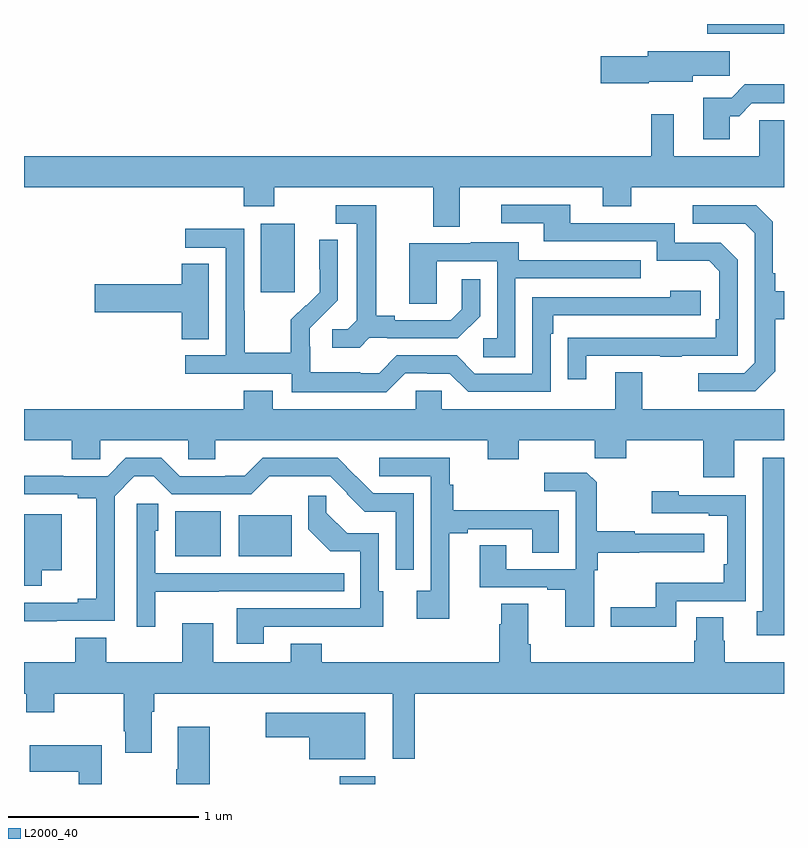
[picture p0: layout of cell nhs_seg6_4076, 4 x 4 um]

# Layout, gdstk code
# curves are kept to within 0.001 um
import gdstk
lib = gdstk.Library(unit=1e-6, precision=1e-09)
def R(c, l, rs):  # rectangles x0, y0, x1, y1
    for r in rs: c.add(gdstk.rectangle(r[:2], r[2:], *l))
def P(c, l, *ps):  # polygons
    for p in ps: c.add(gdstk.Polygon(p, *l))
L2000_40 = (2000, 40)

nhs_seg6_4076 = lib.new_cell('nhs_seg6_4076')
R(nhs_seg6_4076, L2000_40, [(352.663,973.5,352.849,973.54), (351.797,974.699,352.036,974.935), (352.13,974.699,352.408,974.914), (352.247,976.089,352.426,976.45), (354.596,977.45,355,977.5)])
P(nhs_seg6_4076, L2000_40, [(354.288,977.195),(354.52,977.195),(354.52,977.227),(354.715,977.227),(354.715,977.356),(354.284,977.356),(354.284,977.33),(354.036,977.33),(354.036,977.188),(354.288,977.188)],
  [(354.715,977.015),(354.764,977.015),(354.831,977.082),(355,977.082),(355,977.183),(354.794,977.183),(354.724,977.113),(354.575,977.113),(354.575,976.893),(354.715,976.893)],
  [(353.293,976.64),(354.047,976.64),(354.047,976.541),(354.195,976.541),(354.195,976.64),(355,976.64),(355,976.994),(354.87,976.994),(354.87,976.804),(354.421,976.804),(354.421,977.026),(354.3,977.026),(354.3,976.804),(351,976.804),(351,976.64),(352.157,976.64),(352.157,976.541),(352.317,976.541),(352.317,976.64),(353.153,976.64),(353.153,976.432),(353.293,976.432)],
  [(353.959,975.753),(354.349,975.753),(354.349,975.748),(354.461,975.748),(354.461,975.753),(354.756,975.753),(354.756,976.26),(354.666,976.35),(354.426,976.35),(354.426,976.452),(353.875,976.452),(353.875,976.548),(353.511,976.548),(353.511,976.452),(353.735,976.452),(353.735,976.356),(354.33,976.356),(354.33,976.253),(354.607,976.253),(354.66,976.2),(354.66,975.946),(354.64,975.946),(354.64,975.849),(353.863,975.848),(353.863,975.63),(353.959,975.63)],
  [(352.818,975.849),(352.912,975.849),(352.912,975.846),(353.284,975.846),(353.4,975.962),(353.4,976.156),(353.303,976.156),(353.303,975.999),(353.246,975.942),(352.951,975.942),(352.951,975.965),(352.855,975.965),(352.855,976.545),(352.641,976.545),(352.641,976.449),(352.751,976.449),(352.751,975.941),(352.704,975.894),(352.623,975.894),(352.623,975.797),(352.766,975.797)],
  [(354.955,975.673),(354.955,975.946),(355,975.946),(355,976.093),(354.955,976.093),(354.955,976.189),(354.942,976.189),(354.942,976.458),(354.855,976.545),(354.519,976.545),(354.519,976.449),(354.795,976.449),(354.846,976.398),(354.846,975.717),(354.792,975.663),(354.549,975.663),(354.549,975.567),(354.849,975.567)],
  [(353.007,975.663),(353.123,975.663),(353.123,975.66),(353.241,975.66),(353.337,975.564),(353.772,975.564),(353.772,975.869),(353.785,975.869),(353.785,975.966),(354.562,975.966),(354.562,976.096),(354.401,976.096),(354.401,976.062),(353.676,976.062),(353.676,975.66),(353.373,975.66),(353.277,975.756),(352.962,975.756),(352.869,975.663),(352.769,975.663),(352.769,975.667),(352.506,975.667),(352.506,975.801),(352.504,975.801),(352.504,975.898),(352.65,976.046),(352.65,976.364),(352.554,976.364),(352.554,976.21),(352.556,976.21),(352.556,976.088),(352.485,976.017),(352.482,976.02),(352.405,975.943),(352.405,975.769),(352.161,975.769),(352.161,975.992),(352.158,975.992),(352.158,976.422),(351.849,976.422),(351.849,976.323),(352.062,976.323),(352.062,975.756),(351.849,975.756),(351.849,975.66),(352.41,975.66),(352.41,975.563),(352.907,975.563)],
  [(353.586,976.161),(354.245,976.161),(354.245,976.257),(353.605,976.257),(353.605,976.351),(353.351,976.351),(353.351,976.347),(353.027,976.347),(353.027,976.027),(353.172,976.027),(353.172,976.251),(353.49,976.251),(353.49,975.846),(353.418,975.846),(353.418,975.745),(353.586,975.745)],
  [(351.973,976.238),(351.83,976.238),(351.83,976.13),(351.372,976.13),(351.372,975.983),(351.83,975.983),(351.83,975.841),(351.973,975.841)],
  [(354.739,975.308),(355,975.308),(355,975.472),(354.253,975.472),(354.253,975.667),(354.113,975.667),(354.113,975.472),(353.199,975.472),(353.199,975.57),(353.061,975.57),(353.061,975.472),(352.309,975.472),(352.309,975.571),(352.157,975.571),(352.157,975.472),(351,975.472),(351,975.308),(351.251,975.308),(351.251,975.21),(351.402,975.21),(351.402,975.308),(351.864,975.308),(351.864,975.21),(352.006,975.21),(352.006,975.308),(353.441,975.308),(353.441,975.209),(353.605,975.209),(353.605,975.308),(354.005,975.308),(354.005,975.215),(354.169,975.215),(354.169,975.308),(354.575,975.308),(354.575,975.114),(354.739,975.114)],
  [(355,975.217),(354.887,975.217),(354.887,974.408),(354.857,974.408),(354.857,974.282),(355,974.282)],
  [(351.173,974.358),(351.477,974.358),(351.477,975.015),(351.581,975.119),(351.682,975.119),(351.777,975.024),(352.197,975.024),(352.292,975.119),(352.611,975.12),(352.701,975.03),(352.699,975.028),(352.793,974.934),(352.956,974.934),(352.956,974.628),(353.052,974.628),(353.052,975.03),(352.839,975.03),(352.651,975.216),(352.257,975.216),(352.163,975.122),(352.058,975.122),(352.058,975.12),(351.819,975.12),(351.723,975.216),(351.536,975.216),(351.44,975.12),(351.207,975.12),(351.207,975.122),(351,975.122),(351,975.024),(351.284,975.024),(351.284,975.004),(351.38,975.004),(351.38,974.474),(351.284,974.474),(351.284,974.454),(351,974.454),(351,974.357)],
  [(353.239,974.821),(353.335,974.821),(353.335,974.841),(353.675,974.841),(353.675,974.716),(353.815,974.716),(353.815,974.942),(353.258,974.942),(353.258,975.074),(353.24,975.074),(353.24,975.216),(352.869,975.216),(352.869,975.12),(353.142,975.12),(353.142,974.518),(353.067,974.518),(353.067,974.37),(353.239,974.37)],
  [(354,974.624),(354.02,974.624),(354.02,974.716),(354.239,974.716),(354.239,974.72),(354.58,974.72),(354.58,974.817),(354.215,974.817),(354.215,974.83),(354.015,974.83),(354.015,975.087),(353.963,975.139),(353.739,975.139),(353.739,975.042),(353.904,975.042),(353.904,974.631),(353.539,974.631),(353.539,974.756),(353.399,974.756),(353.399,974.535),(353.753,974.535),(353.753,974.523),(353.849,974.523),(353.849,974.328),(354,974.328)],
  [(354.432,974.463),(354.798,974.463),(354.798,975.021),(354.447,975.021),(354.447,975.04),(354.303,975.04),(354.303,974.925),(354.605,974.925),(354.605,974.913),(354.702,974.913),(354.702,974.656),(354.682,974.656),(354.682,974.56),(354.324,974.56),(354.324,974.429),(354.087,974.429),(354.087,974.327),(354.432,974.327)],
  [(352.261,974.328),(352.891,974.327),(352.891,974.514),(352.866,974.514),(352.866,974.82),(352.7,974.82),(352.592,974.928),(352.592,975.016),(352.497,975.016),(352.497,974.84),(352.613,974.724),(352.77,974.724),(352.77,974.424),(352.121,974.424),(352.121,974.238),(352.261,974.238)],
  [(351.691,974.513),(352.025,974.513),(352.025,974.514),(352.685,974.514),(352.685,974.61),(351.69,974.61),(351.69,974.832),(351.706,974.832),(351.706,974.975),(351.594,974.975),(351.594,974.328),(351.691,974.328)],
  [(351.094,974.624),(351.199,974.624),(351.199,974.92),(351,974.92),(351,974.544),(351.094,974.544)],
  [(353.057,973.976),(355,973.976),(355,974.14),(354.687,974.14),(354.687,974.253),(354.679,974.253),(354.679,974.378),(354.539,974.378),(354.539,974.253),(354.527,974.253),(354.527,974.14),(353.666,974.14),(353.666,974.236),(353.653,974.236),(353.653,974.45),(353.513,974.45),(353.513,974.342),(353.501,974.342),(353.501,974.14),(352.567,974.14),(352.567,974.239),(352.403,974.239),(352.403,974.14),(351.997,974.14),(351.997,974.347),(351.833,974.347),(351.833,974.14),(351.433,974.14),(351.433,974.269),(351.269,974.269),(351.269,974.14),(351,974.14),(351,973.976),(351.012,973.976),(351.012,973.877),(351.159,973.877),(351.159,973.976),(351.526,973.976),(351.526,973.777),(351.533,973.777),(351.533,973.665),(351.673,973.665),(351.673,973.88),(351.686,973.88),(351.686,973.976),(352.94,973.976),(352.94,973.632),(353.057,973.632)],
  [(352.795,973.876),(352.272,973.876),(352.272,973.747),(352.502,973.747),(352.502,973.631),(352.795,973.631)],
  [(351.977,973.801),(351.809,973.801),(351.809,973.577),(351.802,973.577),(351.802,973.5),(351.977,973.5)],
  [(351.409,973.705),(351.031,973.705),(351.031,973.565),(351.288,973.565),(351.288,973.5),(351.409,973.5)])

lib.write_gds('nhs_seg6_4076.gds')
